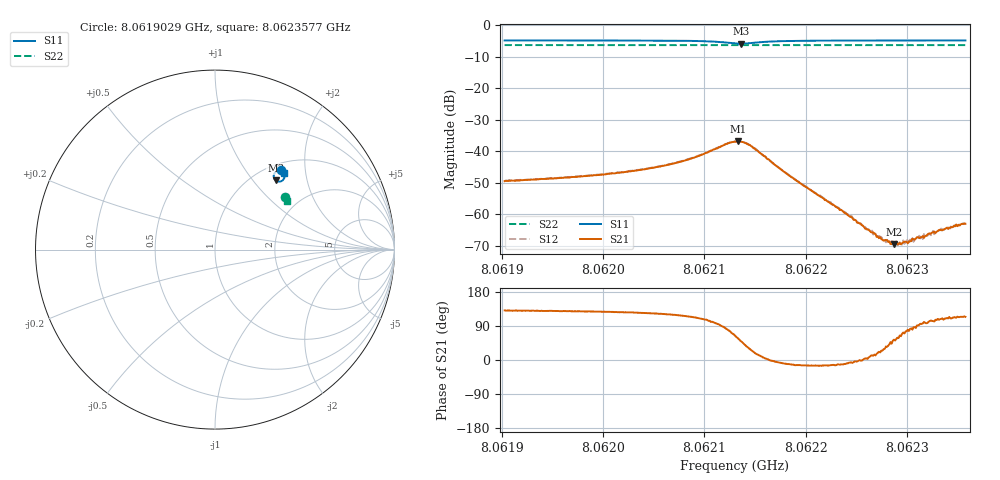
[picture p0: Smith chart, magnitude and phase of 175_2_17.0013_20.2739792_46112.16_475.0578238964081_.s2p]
#  HZ  S  RI  R  50.00
! Rohde & Schwarz Vector Network Analyzer
! Rohde-Schwarz,ZNB20-2Port,1311601062101988,3.16
! Created: UTC 3/20/2024, 10:59:55 PM
! freq[Hz]  re:S11  im:S11  re:S21  im:S21  re:S12  im:S12  re:S22  im:S22
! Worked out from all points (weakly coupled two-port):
!   401 points, 8.0619029 GHz to 8.0623577 GHz, reference 50 ohm
!   highest |S21| = -36.87 dB at 8.0621337 GHz (marker M1); lowest = -69.6 dB at 8.0622872 GHz (marker M2)
!   lowest |S11| = -5.8 dB at 8.062136 GHz (marker M3), VSWR 3.11, Z = 62.8 + j65.7 ohm
!   |S11| at or under -10 dB: nowhere
!   |S22| runs from -6.3 to -6.3 dB; largest |S21 - S12| = 0.0011
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8.06190291e9  0.3701 0.441  -0.00219 0.00253  -0.00205 0.00268  0.3877 0.2936
8.06197908e9  0.3763 0.4352  -0.00247 0.00312  -0.00232 0.00332  0.3903 0.2898
8.06202342e9  0.3804 0.4303  -0.00275 0.00384  -0.00255 0.00397  0.3918 0.2876
8.06205525e9  0.384 0.4245  -0.003 0.00483  -0.00278 0.00502  0.3927 0.2856
8.0620905e9  0.3879 0.4115  -0.00306 0.00737  -0.00262 0.00761  0.3939 0.2834
8.06212347e9  0.3683 0.3808  0.00252 0.0131  0.00332 0.013  0.3935 0.2809
8.06213029e9  0.3522 0.3791  0.00613 0.0128  0.00693 0.0125  0.3931 0.2807
8.0621337e9  0.3434 0.3822  0.00806 0.0119  0.00883 0.0116  0.3928 0.2808
8.06213597e9  0.3381 0.3856  0.00911 0.0108  0.00978 0.0105  0.3927 0.281
8.06214734e9  0.3271 0.412  0.0108 0.00474  0.011 0.00396  0.3931 0.2817
8.06217804e9  0.3522 0.439  0.00474 -0.00075  0.0047 -0.00103  0.3956 0.2811
8.06220646e9  0.365 0.4387  0.00224 -0.000582  0.00222 -0.00074  0.397 0.2797
8.06224739e9  0.374 0.4354  0.000809 -8.11e-05  0.000821 -0.000131  0.3985 0.2773
8.06226899e9  0.3772 0.4337  0.000471 0.000102  0.000458 9.64e-05  0.3994 0.2763
8.06227467e9  0.3776 0.4333  0.000364 0.000165  0.000409 0.000142  0.3995 0.2761
8.06228263e9  0.3787 0.4328  0.000279 0.000244  0.000274 0.000221  0.3998 0.2756
8.06228718e9  0.3792 0.4323  0.000195 0.000266  0.000229 0.000258  0.4 0.2753
8.06229286e9  0.3798 0.4319  0.00015 0.00032  0.000188 0.000277  0.4002 0.2751
8.06230196e9  0.3808 0.4313  8.38e-05 0.000354  5.39e-05 0.000363  0.4004 0.2745
8.06232469e9  0.3827 0.4298  -0.000115 0.000495  -5.88e-05 0.000501  0.4013 0.2732
8.06233151e9  0.3834 0.4294  -0.000157 0.000532  -0.000116 0.000537  0.4015 0.2731
8.06235766e9  0.3854 0.4278  -0.000285 0.000643  -0.00024 0.000683  0.4023 0.2718
